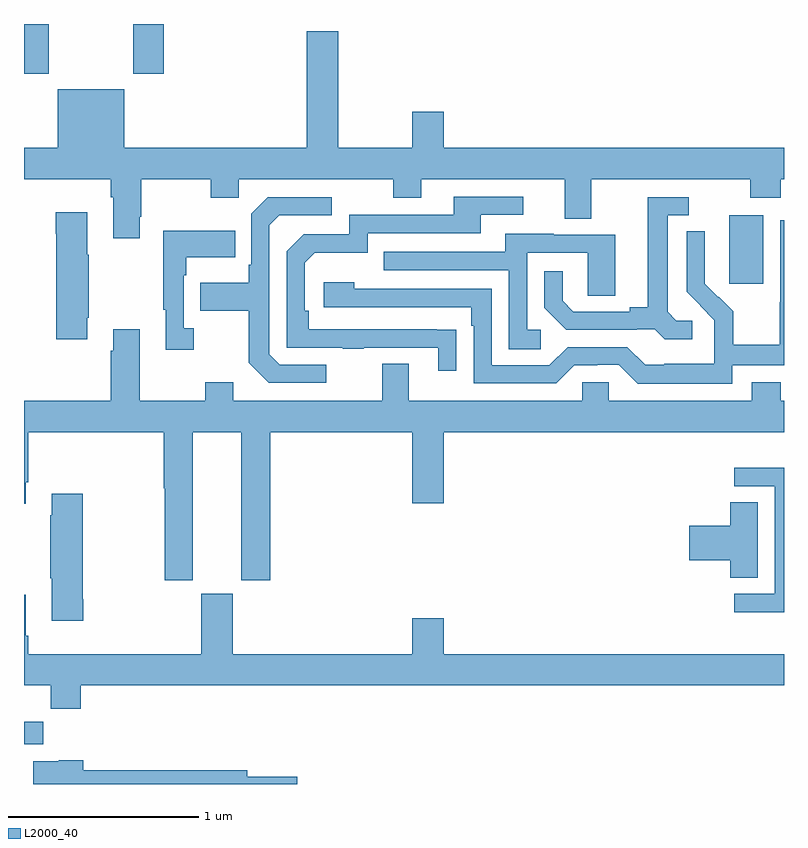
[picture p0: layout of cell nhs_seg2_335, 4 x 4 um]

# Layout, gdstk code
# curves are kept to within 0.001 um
import gdstk
lib = gdstk.Library(unit=1e-6, precision=1e-09)
def R(c, l, rs):  # rectangles x0, y0, x1, y1
    for r in rs: c.add(gdstk.rectangle(r[:2], r[2:], *l))
def P(c, l, *ps):  # polygons
    for p in ps: c.add(gdstk.Polygon(p, *l))
L2000_40 = (2000, 40)

nhs_seg2_335 = lib.new_cell('nhs_seg2_335')
R(nhs_seg2_335, L2000_40, [(127,630.008,127.1,630.127), (130.712,632.433,130.891,632.794), (127,633.537,127.131,633.8), (127.576,633.537,127.736,633.8)])
P(nhs_seg2_335, L2000_40, [(129.044,633.337),(129.044,633.148),(128.653,633.148),(128.653,633.763),(128.489,633.763),(128.489,633.148),(127.528,633.148),(127.528,633.457),(127.178,633.457),(127.178,633.148),(127,633.148),(127,632.984),(127.457,632.984),(127.457,632.888),(127.469,632.888),(127.469,632.673),(127.609,632.673),(127.609,632.785),(127.617,632.785),(127.617,632.984),(127.984,632.984),(127.984,632.885),(128.13,632.885),(128.13,632.984),(128.944,632.984),(128.944,632.885),(129.091,632.885),(129.091,632.984),(129.845,632.984),(129.845,632.776),(129.985,632.776),(129.985,632.984),(130.822,632.984),(130.822,632.885),(130.982,632.885),(130.982,632.984),(131,632.984),(131,633.148),(129.208,633.148),(129.208,633.337)],
  [(129.275,632.192),(128.498,632.193),(128.498,632.29),(128.478,632.29),(128.478,632.544),(128.531,632.597),(128.808,632.597),(128.808,632.7),(129.403,632.7),(129.403,632.796),(129.628,632.796),(129.628,632.892),(129.263,632.892),(129.263,632.796),(128.712,632.796),(128.712,632.694),(128.472,632.694),(128.382,632.604),(128.382,632.097),(128.677,632.097),(128.677,632.092),(128.789,632.092),(128.789,632.097),(129.179,632.097),(129.179,631.974),(129.275,631.974)],
  [(128.59,632.007),(128.346,632.007),(128.292,632.061),(128.292,632.742),(128.343,632.793),(128.62,632.793),(128.62,632.889),(128.283,632.889),(128.196,632.802),(128.196,632.533),(128.184,632.533),(128.184,632.437),(127.927,632.437),(127.927,632.29),(128.184,632.29),(128.184,632.017),(128.289,631.911),(128.59,631.911)],
  [(130.516,632.238),(130.434,632.238),(130.387,632.285),(130.387,632.793),(130.498,632.793),(130.498,632.889),(130.283,632.889),(130.283,632.309),(130.187,632.309),(130.187,632.286),(129.892,632.286),(129.835,632.343),(129.835,632.5),(129.738,632.5),(129.738,632.306),(129.854,632.19),(130.226,632.19),(130.226,632.193),(130.32,632.193),(130.372,632.141),(130.516,632.141)],
  [(127.333,632.254),(127.341,632.254),(127.341,632.585),(127.333,632.585),(127.333,632.809),(127.166,632.809),(127.166,632.696),(127.171,632.696),(127.171,632.142),(127.333,632.142)],
  [(130.728,632.004),(131,632.004),(131,632.766),(130.98,632.766),(130.98,632.336),(130.978,632.336),(130.978,632.113),(130.733,632.113),(130.733,632.287),(130.656,632.364),(130.653,632.361),(130.583,632.432),(130.584,632.708),(130.488,632.708),(130.488,632.39),(130.634,632.242),(130.634,632.145),(130.632,632.145),(130.632,632.011),(130.369,632.011),(130.369,632.007),(130.269,632.007),(130.176,632.1),(129.861,632.1),(129.765,632.004),(129.462,632.004),(129.462,632.406),(128.738,632.406),(128.738,632.44),(128.577,632.44),(128.577,632.31),(129.353,632.31),(129.353,632.213),(129.366,632.213),(129.366,631.908),(129.801,631.908),(129.897,632.004),(130.016,632.004),(130.016,632.007),(130.131,632.007),(130.231,631.907),(130.728,631.907)],
  [(127.894,632.198),(127.842,632.198),(127.842,632.477),(127.855,632.477),(127.855,632.573),(128.111,632.573),(128.111,632.713),(127.734,632.713),(127.734,632.297),(127.745,632.297),(127.745,632.085),(127.894,632.085)],
  [(129.721,632.19),(129.648,632.19),(129.648,632.595),(129.966,632.595),(129.966,632.371),(130.111,632.371),(130.111,632.691),(129.787,632.691),(129.787,632.695),(129.533,632.695),(129.533,632.601),(128.893,632.601),(128.893,632.505),(129.552,632.505),(129.552,632.089),(129.721,632.089)],
  [(127.888,631.652),(128.144,631.652),(128.144,630.873),(128.297,630.873),(128.297,631.652),(129.044,631.652),(129.044,631.278),(129.208,631.278),(129.208,631.652),(131,631.652),(131,631.816),(130.982,631.816),(130.982,631.915),(130.829,631.915),(130.829,631.816),(130.077,631.816),(130.077,631.914),(129.939,631.914),(129.939,631.816),(129.025,631.816),(129.025,632.011),(128.885,632.011),(128.885,631.816),(128.101,631.816),(128.101,631.915),(127.954,631.915),(127.954,631.816),(127.609,631.816),(127.609,632.194),(127.469,632.194),(127.469,632.081),(127.457,632.081),(127.457,631.816),(127,631.816),(127,631.275),(127.009,631.275),(127.009,631.387),(127.022,631.387),(127.022,631.652),(127.736,631.652),(127.736,631.356),(127.741,631.356),(127.741,630.873),(127.888,630.873)],
  [(131,631.464),(130.737,631.464),(130.737,631.368),(130.95,631.368),(130.95,630.801),(130.737,630.801),(130.737,630.703),(131,630.703)],
  [(127.313,630.772),(127.308,630.772),(127.308,631.327),(127.145,631.327),(127.145,631.214),(127.138,631.214),(127.138,630.883),(127.145,630.883),(127.145,630.66),(127.313,630.66)],
  [(130.861,631.283),(130.718,631.283),(130.718,631.16),(130.5,631.16),(130.5,630.977),(130.718,630.977),(130.718,630.886),(130.861,630.886)],
  [(127.298,630.32),(131,630.32),(131,630.484),(129.208,630.484),(129.208,630.673),(129.044,630.673),(129.044,630.484),(128.098,630.484),(128.098,630.801),(127.934,630.801),(127.934,630.484),(127.022,630.484),(127.022,630.58),(127.009,630.58),(127.009,630.796),(127,630.796),(127,630.32),(127.141,630.32),(127.141,630.196),(127.298,630.196)],
  [(128.437,629.838),(128.176,629.838),(128.176,629.872),(127.313,629.872),(127.313,629.926),(127.182,629.926),(127.182,629.92),(127.049,629.92),(127.049,629.8),(128.437,629.8)])

lib.write_gds('nhs_seg2_335.gds')
